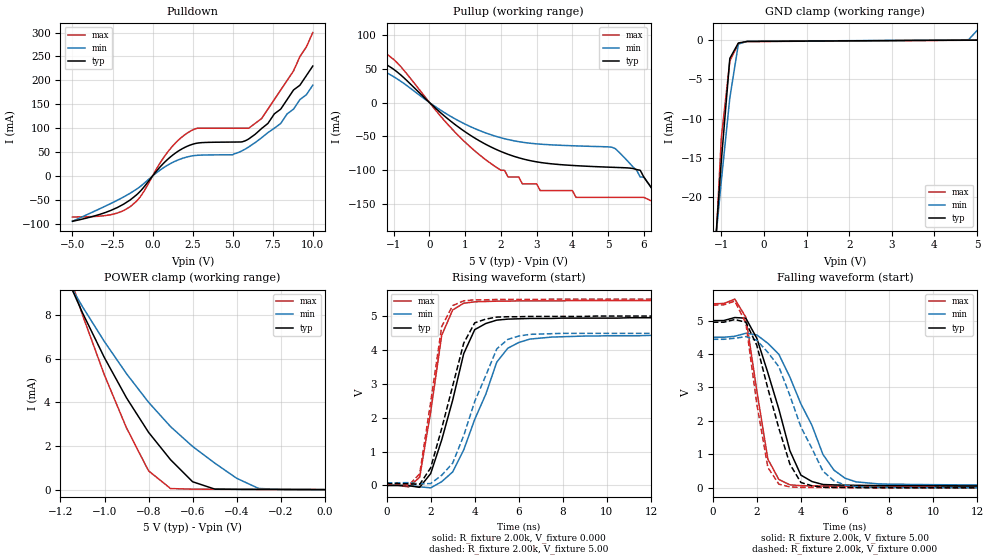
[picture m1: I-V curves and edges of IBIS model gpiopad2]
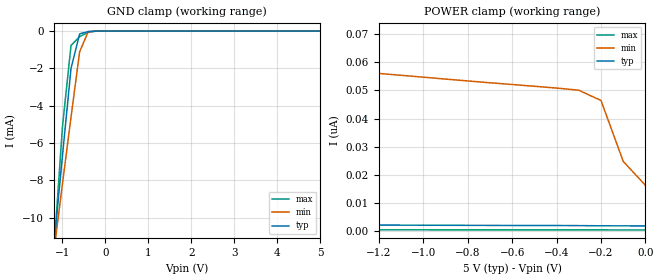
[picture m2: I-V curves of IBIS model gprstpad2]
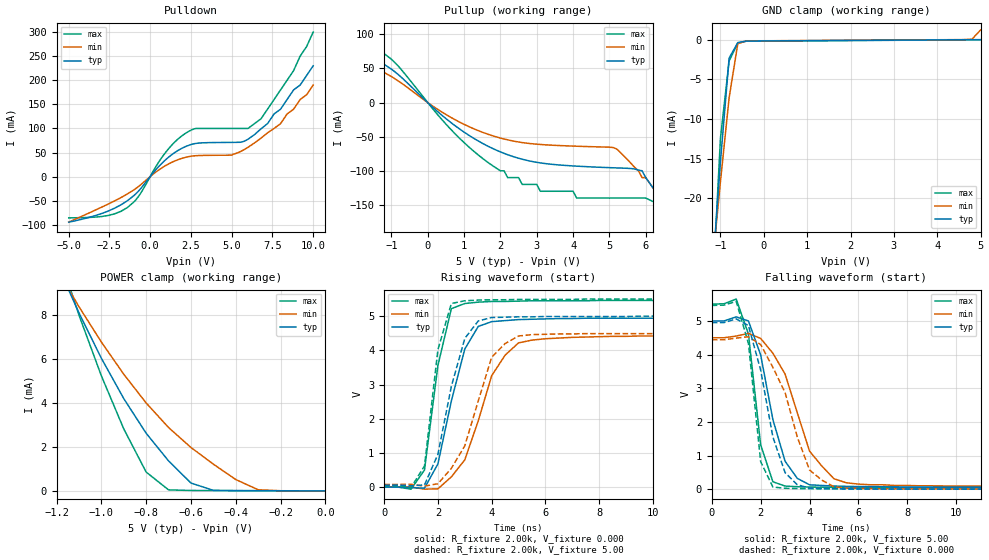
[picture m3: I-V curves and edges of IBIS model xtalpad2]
| IBIS file m325t44.ibs created by s2ibis2 version 1.1
| North Carolina State University Electronics Research Laboratory  1995
[IBIS ver]   2.1
[File name]   m325t44.ibs
[File Rev]   1.2
[Date]   April 19, 2006
[Source]   Lars Snith
[Notes]   Property of Atmel Corporation
[Disclaimer] (C) Copyright ATMEL Norway 2006 Atmel Norway makes no warranty
                 for the use of its products, other than those explicitly
                 stated in the Company's standard warranty which is detailed in
                 Atmel's Terms and Conditions located on the Company's web
                 site. The Company assumes no responsibility for any errors
                 which may appear in this document. The user is granted this
                 license only to use the IBIS model and is not granted rights
                 to sell, load, rent, lease or license the IBIS model in whole
                 or in part, or in modified form to anyone other than user.
                 User may modify the IBIS model to suit its specific
                 applications but rights to derivative works and such
                 modifications shall belong to Atmel Norway. This IBIS model is
                 provided on an \"AS IS\" basis and Atmel Norway makes
                 absolutely no warranty with respect to the information
                 contained herein.
[Copyright]   Copyright (c) 2006 by ATMEL Norway
|   Component atmega32_50_tqfp44
[Component]   atmega32_50_tqfp44
[Manufacturer]   Atmel Corp.
[Package]
| variable   typ   min   max
R_pkg   17.30m   14.80m   19.80m
L_pkg   1.34nH   1.11nH   1.57nH
C_pkg   0.39pF   0.34pF   0.43pF
[Pin]  signal_name   model_name   R_pin   L_pin   C_pin
1   PB5   gpiopad2
| db5  db5   dummy
| enb5 enb5   dummy
2   PB6   gpiopad2
| db6  db6   dummy
| enb6 enb6   dummy
3   PB7   gpiopad2
| db7  db7   dummy
| enb7 enb7   dummy
4   RESET   gprstpad2
5   VCC   POWER
6   GND   GND
7   XTAL2   xtalpad2
| dx2  dx2   dummy
| enx2 enx2   dummy
8   XTAL1   xtalpad2
| dx1  dx1   dummy
| enx1 enx1   dummy
9   PD0   gpiopad2
| dd0  dd0   dummy
| end0 end0   dummy
10   PD1   gpiopad2
| dd1  dd1   dummy
| end1 end1   dummy
11   PD2   gpiopad2
| dd2  dd2   dummy
| end2 end2   dummy
12   PD3   gpiopad2
| dd3  dd3   dummy
| end3 end3   dummy
13   PD4   gpiopad2
| dd4  dd4   dummy
| end4 end4   dummy
14   PD5   gpiopad2
| dd5  dd5   dummy
| end5 end5   dummy
15   PD6   gpiopad2
| dd6  dd6   dummy
| end6 end6   dummy
16   PD7   gpiopad2
| dd7  dd7   dummy
| end7 end7   dummy
17   VCC   POWER
18   GND   GND
19   PC0   gpiopad2
| dc0  dc0   dummy
| enc0 enc0   dummy
20   PC1   gpiopad2
| dc1  dc1   dummy
| enc1 enc1   dummy
21   PC2   gpiopad2
| dc2  dc2   dummy
| enc2 enc2   dummy
22   PC3   gpiopad2
| dc3  dc3   dummy
| enc3 enc3   dummy
23   PC4   gpiopad2
| dc4  dc4   dummy
| enc4 enc4   dummy
24   PC5   gpiopad2
| dc5  dc5   dummy
| enc5 enc5   dummy
25   PC6   gpiopad2
| dc6  dc6   dummy
| enc6 enc6   dummy
26   PC7   gpiopad2
| dc7  dc7   dummy
| enc7 enc7   dummy
27   AVCC   POWER
28   GND   GND
29   AREF   gpiopad2
| darefdaref   dummy
| enarfenarf   dummy
30   PA7   gpiopad2
| da7  da7   dummy
| ena7 ena7   dummy
31   PA6   gpiopad2
| da6  da6   dummy
| ena6 ena6   dummy
32   PA5   gpiopad2
| da5  da5   dummy
| ena5 ena5   dummy
33   PA4   gpiopad2
| da4  da4   dummy
| ena4 ena4   dummy
34   PA3   gpiopad2
| da3  da3   dummy
| ena3 ena3   dummy
35   PA2   gpiopad2
| da2  da2   dummy
| ena2 ena2   dummy
36   PA1   gpiopad2
| da1  da1   dummy
| ena1 ena1   dummy
37   PA0   gpiopad2
| da0  da0   dummy
| ena0 ena0   dummy
38   VCC   POWER
39   GND   GND
40   PB0   gpiopad2
| db0  db0   dummy
| enb0 enb0   dummy
41   PB1   gpiopad2
| db1  db1   dummy
| enb1 enb1   dummy
42   PB2   gpiopad2
| db2  db2   dummy
| enb2 enb2   dummy
43   PB3   gpiopad2
| db3  db3   dummy
| enb3 enb3   dummy
44   PB4   gpiopad2
| Models and submodels in the file (3): gpiopad2 (I/O), gprstpad2 (Input), xtalpad2 (I/O)
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| db4  db4   dummy
| enb4 enb4   dummy
|   Model gpiopad2
[Model]   gpiopad2
Model_type   I/O
Polarity   Non-Inverting
Enable   Active-High
Vinl =   1.50V
Vinh =   3.50V
Vmeas =   2.50V
Cref =  50.00pF
C_comp   6.09pF   6.08pF   6.86pF
[Temperature Range]   27.00   0.12k   -55.00
[Voltage Range]   5.00V   4.50V   5.50V
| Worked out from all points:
|   slope of the pulldown table from 0 to 0.75 V, typ, clamps not added: 26.2 ohm
|   slope of the pullup table from 0 to 0.75 V, typ, clamps not added: 22.2 ohm
|   GND clamp passes 1 mA (typ) near -0.66 V on its own axis
|   POWER clamp passes 1 mA (typ) near -0.66 V on its own axis
|   rising waveform, R_fixture 2.00k, V_fixture 0.000: 20-80 % time 1.23ns typ, 1.58ns min, 766ps max; typ from 0 V to 4.95 V
|   rising waveform, R_fixture 2.00k, V_fixture 5.00: 20-80 % time 1.2ns typ, 1.55ns min, 749ps max; typ from 0.057 V to 5 V
|   falling waveform, R_fixture 2.00k, V_fixture 5.00: 20-80 % time 1.32ns typ, 1.76ns min, 776ps max; typ from 5 V to 0.057 V
|   falling waveform, R_fixture 2.00k, V_fixture 0.000: 20-80 % time 1.25ns typ, 1.68ns min, 757ps max; typ from 4.95 V to 0 V
[Pulldown]
| voltage   I(typ)   I(min)   I(max)
-5V       -94.5mA    -94.6mA    -85.7mA
-2.6V     -71.8mA    -57.3mA    -80.8mA
-1.4V     -50.04mA   -35.96mA   -64.18mA
-700mV    -29.29mA   -20.04mA   -40.23mA
1V        36.64mA    23.91mA    52.64mA
2.4V      65.41mA    41.72mA    94.55mA
5V        71.07mA    44.51mA    100mA
6V        77.53mA    60.79mA    100mA
6.8V      99.22mA    79.96mA    120mA
8V        140mA      110mA      180mA
8.8V      180mA      140mA      220mA
10V       230mA      190mA      300mA
[Pullup]
| voltage   I(typ)   I(min)   I(max)
-5V       99.3mA     100mA      110mA
-2.6V     88.73mA    77.59mA    110mA
-1.4V     62.89mA    50.2mA     79.87mA
1.2V      -50.22mA   -36.84mA   -68.26mA
2.2V      -76.41mA   -54.61mA   -110mA
3.1V      -88.42mA   -61.42mA   -130mA
5.2V      -95.77mA   -68mA      -140mA
5.9V      -100mA     -110mA     -140mA
6.4V      -140mA     -140mA     -150mA
6.8V      -180mA     -160mA     -190mA
7.2V      -210mA     -190mA     -240mA
10V       -470mA     -390mA     -580mA
[GND_clamp]
| voltage   I(typ)   I(min)   I(max)
-5V       -360mA     -280mA     -480mA
-1.2V     -30.58mA   -29.17mA   -33.8mA
-1V       -15.37mA   -17.92mA   -12.44mA
-800mV    -2.33mA    -7.34mA    -2.68mA
-600mV    -370uA     -510uA     -460uA
-400mV    -180uA     -160uA     -190uA
4.8V      -6.47uA    52.25uA    -22.91uA
5V        87.06pA    1.22mA     -16.36uA
[POWER_clamp]
| voltage   I(typ)   I(min)   I(max)
-5V       130mA      110mA      170mA
-1.2V     10.39mA    10.14mA    11.12mA
-1.1V     8.12mA     8.4mA      8.02mA
-1V       6.05mA     6.79mA     5.25mA
-900mV    4.21mA     5.32mA     2.83mA
-800mV    2.63mA     4.01mA     860uA
-700mV    1.37mA     2.89mA     47.73uA
-600mV    360uA      1.98mA     20.53uA
-500mV    24.57uA    1.22mA     16.38uA
-400mV    13.13uA    520uA      13.09uA
-300mV    9.71uA     52.25uA    9.82uA
0V        87.06pA    1.96nA     44.26pA
[Ramp]
| variable   typ   min   max
dV/dt_r   2.97/0.99n   2.66/1.50n   3.28/0.72n
dV/dt_f   2.97/1.14n   2.65/1.72n   3.27/0.73n
R_load = 2.00k
[Rising Waveform]
R_fixture = 2.00k
V_fixture = 0.000
V_fixture_min = 0.000
V_fixture_max = 0.000
| time   V(typ)   V(min)   V(max)
0s        0V         0V         0V
1.5ns     -55.85mV   -39.69mV   240mV
2ns       350mV      -71.65mV   2.17V
2.5ns     1.34V      110mV      4.43V
3ns       2.52V      400mV      5.18V
3.5ns     3.89V      1.05V      5.38V
4ns       4.6V       1.95V      5.42V
5ns       4.88V      3.64V      5.44V
6.5ns     4.93V      4.32V      5.45V
25ns      4.95V      4.44V      5.46V
[Rising Waveform]
R_fixture = 2.00k
V_fixture = 5.00
V_fixture_min = 4.50
V_fixture_max = 5.50
| time   V(typ)   V(min)   V(max)
0s        57.27mV    78.6mV     43.63mV
1.5ns     27.6mV     45.06mV    340mV
2ns       520mV      55.59mV    2.46V
2.5ns     1.68V      300mV      4.69V
3ns       2.94V      660mV      5.31V
3.5ns     4.2V       1.47V      5.45V
4ns       4.8V       2.48V      5.48V
5ns       4.97V      4.03V      5.49V
6ns       4.98V      4.41V      5.49V
25ns      5V         4.5V       5.5V
[Falling Waveform]
R_fixture = 2.00k
V_fixture = 5.00
V_fixture_min = 4.50
V_fixture_max = 5.50
| time   V(typ)   V(min)   V(max)
0s        5V         4.5V       5.5V
1ns       5.09V      4.53V      5.64V
1.5ns     5.07V      4.62V      5.1V
2.5ns     3.44V      4.32V      860mV
3ns       2.35V      3.99V      250mV
3.5ns     1.11V      3.31V      90.39mV
4ns       380mV      2.51V      64.97mV
5ns       100mV      1V         54.85mV
6.5ns     75.45mV    180mV      47.81mV
25ns      57.29mV    78.7mV     43.63mV
[Falling Waveform]
R_fixture = 2.00k
V_fixture = 0.000
V_fixture_min = 0.000
V_fixture_max = 0.000
| time   V(typ)   V(min)   V(max)
0s        4.95V      4.44V      5.46V
1ns       5.03V      4.47V      5.58V
1.5ns     4.95V      4.52V      4.93V
2ns       4.26V      4.41V      2.5V
2.5ns     2.97V      4.05V      610mV
3ns       1.78V      3.62V      110mV
4ns       160mV      1.82V      14.28mV
5ns       21.18mV    500mV      8.78mV
6ns       11.52mV    84.61mV    5.08mV
25ns      10.86uV    40.56uV    580nV
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|   Model gprstpad2
[Model]   gprstpad2
Model_type   Input
Polarity   Non-Inverting
Vinl =   1.50V
Vinh =   3.50V
C_comp   1.23pF   0.76pF   1.36pF
[Temperature Range]   27.00   0.12k   -55.00
[Voltage Range]   5.00V   4.50V   5.50V
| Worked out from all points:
|   GND clamp passes 1 mA (typ) near -0.69 V on its own axis
[GND_clamp]
| voltage   I(typ)   I(min)   I(max)
-5V       -120mA     -88.19mA   -160mA
-1.2V     -11.53mA   -11.86mA   -11.87mA
-1V       -6.7mA     -8.2mA     -5.14mA
-800mV    -2mA       -4.61mA    -770uA
-600mV    -150uA     -1.11mA    -300uA
-400mV    -22.8uA    -32.09uA   -55.94uA
-200mV    -460nA     -810nA     -580nA
5V        1.72nA     51.5nA     260pA
[POWER_clamp]
| voltage   I(typ)   I(min)   I(max)
-5V       28.82uA    13.07uA    49.39uA
-3.1V     340nA      690nA      140nA
-3V       190nA      490nA      58.42nA
-2.9V     100nA      340nA      22.97nA
-2.8V     53.65nA    240nA      8.78nA
-2.7V     28.55nA    180nA      3.38nA
-2.6V     15.52nA    140nA      1.42nA
-2.2V     3.01nA     72.8nA     380pA
-300mV    1.82nA     50.09nA    290pA
-200mV    1.76nA     46.43nA    290pA
-100mV    1.74nA     24.73nA    280pA
0V        1.72nA     16.18nA    280pA
|   Model xtalpad2
[Model]   xtalpad2
Model_type   I/O
Polarity   Non-Inverting
Enable   Active-High
Vinl =   1.50V
Vinh =   3.50V
Vmeas =   2.50V
Cref =  50.00pF
C_comp   3.55pF   3.54pF   4.32pF
[Temperature Range]   27.00   0.12k   -55.00
[Voltage Range]   5.00V   4.50V   5.50V
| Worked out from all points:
|   slope of the pulldown table from 0 to 0.75 V, typ, clamps not added: 26.2 ohm
|   slope of the pullup table from 0 to 0.75 V, typ, clamps not added: 22.2 ohm
|   GND clamp passes 1 mA (typ) near -0.66 V on its own axis
|   POWER clamp passes 1 mA (typ) near -0.66 V on its own axis
|   rising waveform, R_fixture 2.00k, V_fixture 0.000: 20-80 % time 889ps typ, 1.2ns min, 647ps max; typ from 0 V to 4.95 V
|   rising waveform, R_fixture 2.00k, V_fixture 5.00: 20-80 % time 858ps typ, 1.12ns min, 568ps max; typ from 0.057 V to 5 V
|   falling waveform, R_fixture 2.00k, V_fixture 5.00: 20-80 % time 924ps typ, 1.35ns min, 554ps max; typ from 5 V to 0.057 V
|   falling waveform, R_fixture 2.00k, V_fixture 0.000: 20-80 % time 923ps typ, 1.29ns min, 476ps max; typ from 4.95 V to 0 V
[Pulldown]
| voltage   I(typ)   I(min)   I(max)
-5V       -94.5mA    -94.6mA    -85.7mA
-2.6V     -71.8mA    -57.3mA    -80.8mA
-1.4V     -50.04mA   -35.96mA   -64.18mA
-700mV    -29.29mA   -20.04mA   -40.23mA
1V        36.64mA    23.91mA    52.64mA
2.4V      65.41mA    41.72mA    94.55mA
5V        71.07mA    44.51mA    100mA
6V        77.53mA    60.79mA    100mA
6.8V      99.22mA    79.96mA    120mA
8V        140mA      110mA      180mA
8.8V      180mA      140mA      220mA
10V       230mA      190mA      300mA
[Pullup]
| voltage   I(typ)   I(min)   I(max)
-5V       99.3mA     100mA      110mA
-2.6V     88.73mA    77.59mA    110mA
-1.4V     62.89mA    50.2mA     79.87mA
1.2V      -50.22mA   -36.84mA   -68.26mA
2.2V      -76.41mA   -54.61mA   -110mA
3.1V      -88.42mA   -61.42mA   -130mA
5.2V      -95.77mA   -68mA      -140mA
5.9V      -100mA     -110mA     -140mA
6.4V      -140mA     -140mA     -150mA
6.8V      -180mA     -160mA     -190mA
7.2V      -210mA     -190mA     -240mA
10V       -470mA     -390mA     -580mA
[GND_clamp]
| voltage   I(typ)   I(min)   I(max)
-5V       -360mA     -280mA     -480mA
-1.2V     -30.58mA   -29.17mA   -33.8mA
-1V       -15.37mA   -17.92mA   -12.44mA
-800mV    -2.33mA    -7.34mA    -2.68mA
-600mV    -370uA     -510uA     -460uA
-400mV    -180uA     -160uA     -190uA
4.8V      -6.47uA    52.25uA    -22.91uA
5V        87.06pA    1.22mA     -16.36uA
[POWER_clamp]
| voltage   I(typ)   I(min)   I(max)
-5V       130mA      110mA      170mA
-1.2V     10.39mA    10.14mA    11.12mA
-1.1V     8.12mA     8.4mA      8.02mA
-1V       6.05mA     6.79mA     5.25mA
-900mV    4.21mA     5.32mA     2.83mA
-800mV    2.63mA     4.01mA     860uA
-700mV    1.37mA     2.89mA     47.73uA
-600mV    360uA      1.98mA     20.53uA
-500mV    24.57uA    1.22mA     16.38uA
-400mV    13.13uA    520uA      13.09uA
-300mV    9.71uA     52.25uA    9.82uA
0V        87.06pA    1.96nA     44.26pA
[Ramp]
| variable   typ   min   max
dV/dt_r   2.97/0.71n   2.66/1.11n   3.28/0.51n
dV/dt_f   2.97/0.81n   2.65/1.24n   3.27/0.58n
R_load = 2.00k
[Rising Waveform]
R_fixture = 2.00k
V_fixture = 0.000
V_fixture_min = 0.000
V_fixture_max = 0.000
| time   V(typ)   V(min)   V(max)
0s        0V         0V         0V
1ns       -14.74mV   4.16mV     -58.99mV
1.5ns     -30.84mV   -58.4mV    500mV
2ns       680mV      -48.5mV    3.56V
2.5ns     2.52V      300mV      5.22V
3ns       4.04V      800mV      5.37V
3.5ns     4.7V       1.94V      5.41V
4ns       4.84V      3.26V      5.43V
5ns       4.9V       4.22V      5.44V
25ns      4.95V      4.44V      5.46V
[Rising Waveform]
R_fixture = 2.00k
V_fixture = 5.00
V_fixture_min = 4.50
V_fixture_max = 5.50
| time   V(typ)   V(min)   V(max)
0s        57.27mV    78.6mV     43.63mV
1ns       42.83mV    82.23mV    -11.72mV
1.5ns     64.01mV    30.38mV    620mV
2ns       960mV      100mV      4.02V
2.5ns     2.95V      550mV      5.37V
3ns       4.35V      1.21V      5.45V
3.5ns     4.86V      2.52V      5.47V
4ns       4.96V      3.8V       5.48V
5ns       4.98V      4.42V      5.49V
25ns      5V         4.5V       5.5V
[Falling Waveform]
R_fixture = 2.00k
V_fixture = 5.00
V_fixture_min = 4.50
V_fixture_max = 5.50
| time   V(typ)   V(min)   V(max)
0s        5V         4.5V       5.5V
1ns       5.12V      4.55V      5.65V
1.5ns     5V         4.63V      4.61V
2ns       3.99V      4.48V      1.32V
2.5ns     2.07V      4.04V      220mV
3ns       830mV      3.42V      92.3mV
4ns       130mV      1.13V      62.56mV
5ns       92.58mV    310mV      53.35mV
5.5ns     83.72mV    190mV      50.91mV
25ns      57.28mV    78.68mV    43.63mV
[Falling Waveform]
R_fixture = 2.00k
V_fixture = 0.000
V_fixture_min = 0.000
V_fixture_max = 0.000
| time   V(typ)   V(min)   V(max)
0s        4.95V      4.44V      5.46V
1ns       5.06V      4.49V      5.58V
1.5ns     4.86V      4.53V      4.33V
2ns       3.54V      4.3V       820mV
2.5ns     1.55V      3.62V      64.12mV
3ns       490mV      2.87V      26.13mV
3.5ns     130mV      1.55V      16.66mV
4ns       32.25mV    570mV      13.25mV
5ns       15.72mV    70.95mV    7.69mV
25ns      9.79uV     30.86uV    720nV
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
